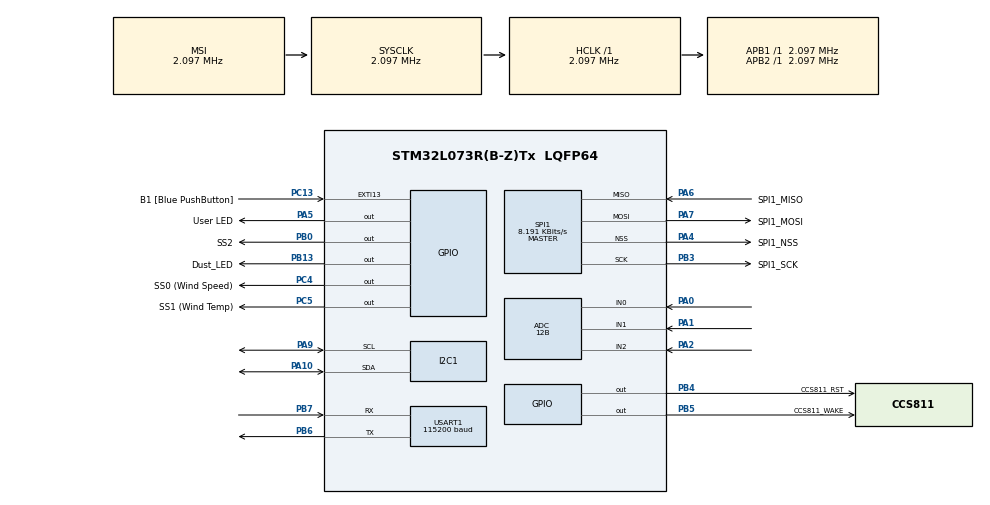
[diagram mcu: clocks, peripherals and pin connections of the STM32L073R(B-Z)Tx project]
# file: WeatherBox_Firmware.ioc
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ADC.ClockPrescaler=ADC_CLOCK_SYNC_PCLK_DIV1
ADC.DataAlign=ADC_DATAALIGN_RIGHT
ADC.DiscontinuousConvMode=ENABLE
ADC.Resolution=ADC_RESOLUTION_12B
ADC.SamplingTime=ADC_SAMPLETIME_1CYCLE_5
ADC.ScanConvMode=ADC_SCAN_DIRECTION_FORWARD
Dma.Request0=USART1_RX
Dma.USART1_RX.0.Direction=DMA_PERIPH_TO_MEMORY
Dma.USART1_RX.0.Instance=DMA1_Channel3
Dma.USART1_RX.0.MemDataAlignment=DMA_MDATAALIGN_BYTE
Dma.USART1_RX.0.MemInc=DMA_MINC_ENABLE
Dma.USART1_RX.0.Mode=DMA_CIRCULAR
Dma.USART1_RX.0.PeriphDataAlignment=DMA_PDATAALIGN_BYTE
Dma.USART1_RX.0.PeriphInc=DMA_PINC_DISABLE
Dma.USART1_RX.0.Priority=DMA_PRIORITY_LOW
I2C1.Analog_Filter=I2C_ANALOGFILTER_DISABLE
I2C1.Timing=0x00000609
Mcu.Family=STM32L0
Mcu.Name=STM32L073R(B-Z)Tx
Mcu.Package=LQFP64
NVIC.DMA1_Channel2_3_IRQn=true\:0\:0\:false\:false\:true\:false\:true
NVIC.TIM2_IRQn=true\:1\:0\:true\:true\:true\:1\:true\:true
PA0.Mode=IN0
PA0.Signal=ADC_IN0
PA1.Mode=IN1
PA1.Signal=ADC_IN1
PA10.Mode=I2C
PA10.Signal=I2C1_SDA
PA13.GPIO_Label=TMS
PA13.Mode=Serial_Wire
PA13.Signal=SYS_SWDIO
PA14.GPIO_Label=TCK
PA14.Mode=Serial_Wire
PA14.Signal=SYS_SWCLK
PA2.Mode=IN2
PA2.Signal=ADC_IN2
PA4.GPIO_Label=SPI1_NSS
PA4.Mode=NSS_Signal_Hard_Output
PA4.Signal=SPI1_NSS
PA5.GPIO_Label=User LED
PA5.Signal=GPIO_Output
PA6.GPIO_Label=SPI1_MISO
PA6.Mode=Full_Duplex_Master
PA6.Signal=SPI1_MISO
PA7.GPIO_Label=SPI1_MOSI
PA7.Mode=Full_Duplex_Master
PA7.Signal=SPI1_MOSI
PA9.Mode=I2C
PA9.Signal=I2C1_SCL
PB0.GPIO_Label=SS2
PB0.Signal=GPIO_Output
PB13.GPIO_Label=Dust_LED
PB13.GPIO_ModeDefaultOutputPP=GPIO_MODE_OUTPUT_PP
PB13.PinState=GPIO_PIN_SET
PB13.Signal=GPIO_Output
PB3.GPIO_Label=SPI1_SCK
PB3.Mode=Full_Duplex_Master
PB3.Signal=SPI1_SCK
PB4.GPIO_Label=CCS811_RST
PB4.Signal=GPIO_Output
PB5.GPIO_Label=CCS811_WAKE
PB5.Signal=GPIO_Output
PB6.Mode=Asynchronous
PB6.Signal=USART1_TX
PB7.Mode=Asynchronous
PB7.Signal=USART1_RX
PC13.GPIO_Label=B1 [Blue PushButton]
PC13.GPIO_ModeDefaultEXTI=GPIO_MODE_IT_FALLING
PC13.Signal=GPXTI13
PC14-OSC32_IN.Mode=LSE-External-Oscillator
PC14-OSC32_IN.Signal=RCC_OSC32_IN
PC15-OSC32_OUT.Mode=LSE-External-Oscillator
PC15-OSC32_OUT.Signal=RCC_OSC32_OUT
PC4.GPIO_Label=SS0 (Wind Speed)
PC4.PinState=GPIO_PIN_SET
PC4.Signal=GPIO_Output
PC5.GPIO_Label=SS1 (Wind Temp)
PC5.Signal=GPIO_Output
PH0-OSC_IN.GPIO_Label=MCO
PH0-OSC_IN.Mode=HSE-External-Clock-Source
PH0-OSC_IN.Signal=RCC_OSC_IN
ProjectManager.HeapSize=0x200
ProjectManager.StackSize=0x400
ProjectManager.TargetToolchain=STM32CubeIDE
RCC.AHBFreq_Value=2097000
RCC.APB1Freq_Value=2097000
RCC.APB1TimFreq_Value=2097000
RCC.APB2Freq_Value=2097000
RCC.APB2TimFreq_Value=2097000
RCC.HSE_VALUE=8000000
RCC.HSI16_VALUE=16000000
RCC.HSI48_VALUE=48000000
RCC.HSI_VALUE=16000000
RCC.MSI_VALUE=2097000
RCC.SYSCLKFreq_VALUE=2097000
RCC.VCOOutputFreq_Value=48000000
RTC.Format=RTC_FORMAT_BCD
RTC.Month=RTC_MONTH_DECEMBER
RTC.WeekDay=RTC_WEEKDAY_SUNDAY
RTC.Year=0
SPI1.BaudRatePrescaler=SPI_BAUDRATEPRESCALER_256
SPI1.CalculateBaudRate=8.191 KBits/s
SPI1.DataSize=SPI_DATASIZE_8BIT
SPI1.Direction=SPI_DIRECTION_2LINES
SPI1.FirstBit=SPI_FIRSTBIT_MSB
SPI1.Mode=SPI_MODE_MASTER
SPI1.VirtualNSS=VM_NSSHARD
SPI1.VirtualType=VM_MASTER
TIM2.Period=3000
TIM2.Prescaler=7000
USART1.BaudRate=115200
USART1.OverSampling=UART_OVERSAMPLING_16
USART1.VirtualMode-Asynchronous=VM_ASYNC
VP_RTC_VS_RTC_Activate.Mode=RTC_Enabled
VP_RTC_VS_RTC_Calendar.Mode=RTC_Calendar
VP_TIM2_VS_ClockSourceINT.Mode=Internal
VP_TIM2_VS_ClockSourceITR.Mode=TriggerSource_ITR0
board=NUCLEO-L073RZ

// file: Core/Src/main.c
/* USER CODE BEGIN Header */
/**
  ******************************************************************************
  * @file           : main.c
  * @brief          : Main program body
  ******************************************************************************
  * @attention
  *
  * <h2><center>&copy; Copyright (c) 2019 STMicroelectronics.
  * All rights reserved.</center></h2>
  *
  * This software component is licensed by ST under BSD 3-Clause license,
  * the "License"; You may not use this file except in compliance with the
  * License. You may obtain a copy of the License at:
  *                        opensource.org/licenses/BSD-3-Clause
  *
  ******************************************************************************
  */
/* USER CODE END Header */

#include "main.h"

ADC_HandleTypeDef hadc;

I2C_HandleTypeDef hi2c1;

RTC_HandleTypeDef hrtc;

SPI_HandleTypeDef hspi1;

TIM_HandleTypeDef htim2;

UART_HandleTypeDef huart1;
DMA_HandleTypeDef hdma_usart1_rx;

/* USER CODE BEGIN PV */
	/* Unique Device ID */
uint32_t stm32_dev_id_word0;
uint32_t stm32_dev_id_word1;
uint32_t stm32_dev_id_word2;

	/* Timeouts in milliseconds */
const int SPI_TIMEOUT = 500;
const int I2C_TIMEOUT = 500;
const int ADC_TIMEOUT = 500;

	/* BME280 Variables */
int bme280_init_complete = 0;
struct bme280_settings bme280_device_settings;
struct bme280_dev bme280_device;
int8_t bme280_init_rslt = BME280_OK;
int8_t bme280_rslt = BME280_OK;
uint8_t bme280_settings_sel = BME280_OSR_PRESS_SEL | BME280_OSR_TEMP_SEL | BME280_OSR_HUM_SEL | BME280_FILTER_SEL;
struct bme280_data comp_data;

	/* CCS811 Variables */
struct ccs811_fw_boot_version ccs811_firmware_boot_version;
struct ccs811_fw_app_version ccs811_firmware_app_version;
struct ccs811_ntc ccs811_ntc_data;
struct ccs811_env_data ccs811_environmental_data;
struct ccs811_measurement_data ccs811_measured_data;
struct ccs811_dev ccs811_device;
uint16_t ccs811_baseline;
int8_t ccs811_init_rslt = CCS811_OK;
int8_t ccs811_rslt = CCS811_OK;
int ccs811_init_complete = 0;

	/* RTC Variables */
RTC_TimeTypeDef currentTime;
RTC_DateTypeDef currentDate;
time_t timestamp_power_on;
time_t timestamp;
struct tm currTime;

/* USER CODE END PV */

void SystemClock_Config(void);
static void MX_GPIO_Init(void);
static void MX_DMA_Init(void);
static void MX_SPI1_Init(void);
static void MX_TIM2_Init(void);
static void MX_I2C1_Init(void);
static void MX_USART1_UART_Init(void);
static void MX_RTC_Init(void);
static void MX_ADC_Init(void);
static void MX_NVIC_Init(void);
/* USER CODE BEGIN PFP */
static void BME280_INIT(void);
static void CCS811_INIT(void);
/* USER CODE END PFP */

int main(void)
{

  /* MCU Configuration--------------------------------------------------------*/

  /* Reset of all peripherals, Initializes the Flash interface and the Systick. */
  HAL_Init();

  /* USER CODE BEGIN Init */
  /* Get Unique Device ID */
  stm32_dev_id_word0 = HAL_GetUIDw0();
  stm32_dev_id_word1 = HAL_GetUIDw1();
  stm32_dev_id_word2 = HAL_GetUIDw2();
  /* USER CODE END Init */

  /* Configure the system clock */
  SystemClock_Config();

  /* Initialize all configured peripherals */
  MX_GPIO_Init();
  MX_DMA_Init();
  MX_SPI1_Init();
  MX_TIM2_Init();
  MX_I2C1_Init();
  MX_USART1_UART_Init();
  MX_RTC_Init();
  MX_ADC_Init();

  /* Initialize interrupts */
  MX_NVIC_Init();
  /* USER CODE BEGIN 2 */
  wifiRST(&huart1);
  wifiInit();
  connectWifi("WeatherBox", "WinDrone807");
  HAL_Delay(1000);
  BME280_INIT();
  bme280_init_complete = 1;
  CCS811_INIT();
  ccs811_init_complete = 1;
  wifi_get_timestamp(huart1);
  get_current_timestamp();
  timestamp_power_on = timestamp;
  //HAL_Delay(5000);
  HAL_TIM_Base_Start_IT(&htim2);

  /* USER CODE END 2 */

  /* Infinite loop */
  while (1)
  {

  }
}

void SystemClock_Config(void)
{
  RCC_OscInitTypeDef RCC_OscInitStruct = {0};
  RCC_ClkInitTypeDef RCC_ClkInitStruct = {0};
  RCC_PeriphCLKInitTypeDef PeriphClkInit = {0};

  /** Configure the main internal regulator output voltage
  */
  __HAL_PWR_VOLTAGESCALING_CONFIG(PWR_REGULATOR_VOLTAGE_SCALE1);
  /** Initializes the CPU, AHB and APB busses clocks
  */
  RCC_OscInitStruct.OscillatorType = RCC_OSCILLATORTYPE_LSI|RCC_OSCILLATORTYPE_MSI;
  RCC_OscInitStruct.LSIState = RCC_LSI_ON;
  RCC_OscInitStruct.MSIState = RCC_MSI_ON;
  RCC_OscInitStruct.MSICalibrationValue = 0;
  RCC_OscInitStruct.MSIClockRange = RCC_MSIRANGE_5;
  RCC_OscInitStruct.PLL.PLLState = RCC_PLL_NONE;
  if (HAL_RCC_OscConfig(&RCC_OscInitStruct) != HAL_OK)
  {
    Error_Handler();
  }
  /** Initializes the CPU, AHB and APB busses clocks
  */
  RCC_ClkInitStruct.ClockType = RCC_CLOCKTYPE_HCLK|RCC_CLOCKTYPE_SYSCLK
                              |RCC_CLOCKTYPE_PCLK1|RCC_CLOCKTYPE_PCLK2;
  RCC_ClkInitStruct.SYSCLKSource = RCC_SYSCLKSOURCE_MSI;
  RCC_ClkInitStruct.AHBCLKDivider = RCC_SYSCLK_DIV1;
  RCC_ClkInitStruct.APB1CLKDivider = RCC_HCLK_DIV1;
  RCC_ClkInitStruct.APB2CLKDivider = RCC_HCLK_DIV1;

  if (HAL_RCC_ClockConfig(&RCC_ClkInitStruct, FLASH_LATENCY_0) != HAL_OK)
  {
    Error_Handler();
  }
  PeriphClkInit.PeriphClockSelection = RCC_PERIPHCLK_USART1|RCC_PERIPHCLK_I2C1
                              |RCC_PERIPHCLK_RTC;
  PeriphClkInit.Usart1ClockSelection = RCC_USART1CLKSOURCE_PCLK2;
  PeriphClkInit.I2c1ClockSelection = RCC_I2C1CLKSOURCE_PCLK1;
  PeriphClkInit.RTCClockSelection = RCC_RTCCLKSOURCE_LSI;
  if (HAL_RCCEx_PeriphCLKConfig(&PeriphClkInit) != HAL_OK)
  {
    Error_Handler();
  }
}

/**
  * @brief NVIC Configuration.
  * @retval None
  */
static void MX_NVIC_Init(void)
{
  /* TIM2_IRQn interrupt configuration */
  HAL_NVIC_SetPriority(TIM2_IRQn, 1, 0);
  HAL_NVIC_EnableIRQ(TIM2_IRQn);
}

static void MX_ADC_Init(void)
{

  ADC_ChannelConfTypeDef sConfig = {0};

  /** Configure the global features of the ADC (Clock, Resolution, Data Alignment and number of conversion)
  */
  hadc.Instance = ADC1;
  hadc.Init.OversamplingMode = DISABLE;
  hadc.Init.ClockPrescaler = ADC_CLOCK_SYNC_PCLK_DIV1;
  hadc.Init.Resolution = ADC_RESOLUTION_12B;
  hadc.Init.SamplingTime = ADC_SAMPLETIME_1CYCLE_5;
  hadc.Init.ScanConvMode = ADC_SCAN_DIRECTION_FORWARD;
  hadc.Init.DataAlign = ADC_DATAALIGN_RIGHT;
  hadc.Init.ContinuousConvMode = DISABLE;
  hadc.Init.DiscontinuousConvMode = ENABLE;
  hadc.Init.ExternalTrigConvEdge = ADC_EXTERNALTRIGCONVEDGE_NONE;
  hadc.Init.ExternalTrigConv = ADC_SOFTWARE_START;
  hadc.Init.DMAContinuousRequests = DISABLE;
  hadc.Init.EOCSelection = ADC_EOC_SINGLE_CONV;
  hadc.Init.Overrun = ADC_OVR_DATA_PRESERVED;
  hadc.Init.LowPowerAutoWait = DISABLE;
  hadc.Init.LowPowerFrequencyMode = DISABLE;
  hadc.Init.LowPowerAutoPowerOff = DISABLE;
  if (HAL_ADC_Init(&hadc) != HAL_OK)
  {
    Error_Handler();
  }
  /** Configure for the selected ADC regular channel to be converted.
  */
  sConfig.Channel = ADC_CHANNEL_0;
  sConfig.Rank = ADC_RANK_CHANNEL_NUMBER;
  if (HAL_ADC_ConfigChannel(&hadc, &sConfig) != HAL_OK)
  {
    Error_Handler();
  }
  /** Configure for the selected ADC regular channel to be converted.
  */
  sConfig.Channel = ADC_CHANNEL_1;
  if (HAL_ADC_ConfigChannel(&hadc, &sConfig) != HAL_OK)
  {
    Error_Handler();
  }
  /** Configure for the selected ADC regular channel to be converted.
  */
  sConfig.Channel = ADC_CHANNEL_2;
  if (HAL_ADC_ConfigChannel(&hadc, &sConfig) != HAL_OK)
  {
    Error_Handler();
  }

}

static void MX_I2C1_Init(void)
{

  hi2c1.Instance = I2C1;
  hi2c1.Init.Timing = 0x00000609;
  hi2c1.Init.OwnAddress1 = 0;
  hi2c1.Init.AddressingMode = I2C_ADDRESSINGMODE_7BIT;
  hi2c1.Init.DualAddressMode = I2C_DUALADDRESS_DISABLE;
  hi2c1.Init.OwnAddress2 = 0;
  hi2c1.Init.OwnAddress2Masks = I2C_OA2_NOMASK;
  hi2c1.Init.GeneralCallMode = I2C_GENERALCALL_DISABLE;
  hi2c1.Init.NoStretchMode = I2C_NOSTRETCH_DISABLE;
  if (HAL_I2C_Init(&hi2c1) != HAL_OK)
  {
    Error_Handler();
  }
  /** Configure Analogue filter
  */
  if (HAL_I2CEx_ConfigAnalogFilter(&hi2c1, I2C_ANALOGFILTER_DISABLE) != HAL_OK)
  {
    Error_Handler();
  }
  /** Configure Digital filter
  */
  if (HAL_I2CEx_ConfigDigitalFilter(&hi2c1, 0) != HAL_OK)
  {
    Error_Handler();
  }

}

static void MX_RTC_Init(void)
{

  RTC_TimeTypeDef sTime = {0};
  RTC_DateTypeDef sDate = {0};

  /** Initialize RTC Only
  */
  hrtc.Instance = RTC;
  hrtc.Init.HourFormat = RTC_HOURFORMAT_24;
  hrtc.Init.AsynchPrediv = 127;
  hrtc.Init.SynchPrediv = 255;
  hrtc.Init.OutPut = RTC_OUTPUT_DISABLE;
  hrtc.Init.OutPutRemap = RTC_OUTPUT_REMAP_NONE;
  hrtc.Init.OutPutPolarity = RTC_OUTPUT_POLARITY_HIGH;
  hrtc.Init.OutPutType = RTC_OUTPUT_TYPE_OPENDRAIN;
  if (HAL_RTC_Init(&hrtc) != HAL_OK)
  {
    Error_Handler();
  }

  /** Initialize RTC and set the Time and Date
  */
  sTime.Hours = 0x0;
  sTime.Minutes = 0x0;
  sTime.Seconds = 0x0;
  sTime.DayLightSaving = RTC_DAYLIGHTSAVING_NONE;
  sTime.StoreOperation = RTC_STOREOPERATION_RESET;
  if (HAL_RTC_SetTime(&hrtc, &sTime, RTC_FORMAT_BCD) != HAL_OK)
  {
    Error_Handler();
  }
  sDate.WeekDay = RTC_WEEKDAY_SUNDAY;
  sDate.Month = RTC_MONTH_DECEMBER;
  sDate.Date = 1;
  sDate.Year = 0;

  if (HAL_RTC_SetDate(&hrtc, &sDate, RTC_FORMAT_BCD) != HAL_OK)
  {
    Error_Handler();
  }

}

static void MX_SPI1_Init(void)
{

  /* SPI1 parameter configuration*/
  hspi1.Instance = SPI1;
  hspi1.Init.Mode = SPI_MODE_MASTER;
  hspi1.Init.Direction = SPI_DIRECTION_2LINES;
  hspi1.Init.DataSize = SPI_DATASIZE_8BIT;
  hspi1.Init.CLKPolarity = SPI_POLARITY_LOW;
  hspi1.Init.CLKPhase = SPI_PHASE_1EDGE;
  hspi1.Init.NSS = SPI_NSS_HARD_OUTPUT;
  hspi1.Init.BaudRatePrescaler = SPI_BAUDRATEPRESCALER_256;
  hspi1.Init.FirstBit = SPI_FIRSTBIT_MSB;
  hspi1.Init.TIMode = SPI_TIMODE_DISABLE;
  hspi1.Init.CRCCalculation = SPI_CRCCALCULATION_DISABLE;
  hspi1.Init.CRCPolynomial = 7;
  if (HAL_SPI_Init(&hspi1) != HAL_OK)
  {
    Error_Handler();
  }

}

static void MX_TIM2_Init(void)
{

  TIM_ClockConfigTypeDef sClockSourceConfig = {0};
  TIM_SlaveConfigTypeDef sSlaveConfig = {0};
  TIM_MasterConfigTypeDef sMasterConfig = {0};

  htim2.Instance = TIM2;
  htim2.Init.Prescaler = 7000;
  htim2.Init.CounterMode = TIM_COUNTERMODE_UP;
  htim2.Init.Period = 3000;
  htim2.Init.ClockDivision = TIM_CLOCKDIVISION_DIV1;
  htim2.Init.AutoReloadPreload = TIM_AUTORELOAD_PRELOAD_DISABLE;
  if (HAL_TIM_Base_Init(&htim2) != HAL_OK)
  {
    Error_Handler();
  }
  sClockSourceConfig.ClockSource = TIM_CLOCKSOURCE_INTERNAL;
  if (HAL_TIM_ConfigClockSource(&htim2, &sClockSourceConfig) != HAL_OK)
  {
    Error_Handler();
  }
  sSlaveConfig.SlaveMode = TIM_SLAVEMODE_DISABLE;
  sSlaveConfig.InputTrigger = TIM_TS_ITR0;
  if (HAL_TIM_SlaveConfigSynchro(&htim2, &sSlaveConfig) != HAL_OK)
  {
    Error_Handler();
  }
  sMasterConfig.MasterOutputTrigger = TIM_TRGO_RESET;
  sMasterConfig.MasterSlaveMode = TIM_MASTERSLAVEMODE_DISABLE;
  if (HAL_TIMEx_MasterConfigSynchronization(&htim2, &sMasterConfig) != HAL_OK)
  {
    Error_Handler();
  }

}

static void MX_USART1_UART_Init(void)
{

  huart1.Instance = USART1;
  huart1.Init.BaudRate = 115200;
  huart1.Init.WordLength = UART_WORDLENGTH_8B;
  huart1.Init.StopBits = UART_STOPBITS_1;
  huart1.Init.Parity = UART_PARITY_NONE;
  huart1.Init.Mode = UART_MODE_TX_RX;
  huart1.Init.HwFlowCtl = UART_HWCONTROL_NONE;
  huart1.Init.OverSampling = UART_OVERSAMPLING_16;
  huart1.Init.OneBitSampling = UART_ONE_BIT_SAMPLE_DISABLE;
  huart1.AdvancedInit.AdvFeatureInit = UART_ADVFEATURE_NO_INIT;
  if (HAL_UART_Init(&huart1) != HAL_OK)
  {
    Error_Handler();
  }

}

static void MX_DMA_Init(void)
{

  /* DMA controller clock enable */
  __HAL_RCC_DMA1_CLK_ENABLE();

  /* DMA interrupt init */
  /* DMA1_Channel2_3_IRQn interrupt configuration */
  HAL_NVIC_SetPriority(DMA1_Channel2_3_IRQn, 0, 0);
  HAL_NVIC_EnableIRQ(DMA1_Channel2_3_IRQn);

}

static void MX_GPIO_Init(void)
{
  GPIO_InitTypeDef GPIO_InitStruct = {0};

  /* GPIO Ports Clock Enable */
  __HAL_RCC_GPIOC_CLK_ENABLE();
  __HAL_RCC_GPIOH_CLK_ENABLE();
  __HAL_RCC_GPIOA_CLK_ENABLE();
  __HAL_RCC_GPIOB_CLK_ENABLE();

  /*Configure GPIO pin Output Level */
  HAL_GPIO_WritePin(User_LED_GPIO_Port, User_LED_Pin, GPIO_PIN_RESET);

  /*Configure GPIO pin Output Level */
  HAL_GPIO_WritePin(SS0_GPIO_Port, SS0_Pin, GPIO_PIN_SET);

  /*Configure GPIO pin Output Level */
  HAL_GPIO_WritePin(SS1_GPIO_Port, SS1_Pin, GPIO_PIN_RESET);

  /*Configure GPIO pin Output Level */
  HAL_GPIO_WritePin(GPIOB, SS2_Pin|CCS811_RST_Pin|CCS811_WAKE_Pin, GPIO_PIN_RESET);

  /*Configure GPIO pin Output Level */
  HAL_GPIO_WritePin(Dust_LED_GPIO_Port, Dust_LED_Pin, GPIO_PIN_SET);

  /*Configure GPIO pin : B1_Pin */
  GPIO_InitStruct.Pin = B1_Pin;
  GPIO_InitStruct.Mode = GPIO_MODE_IT_FALLING;
  GPIO_InitStruct.Pull = GPIO_NOPULL;
  HAL_GPIO_Init(B1_GPIO_Port, &GPIO_InitStruct);

  /*Configure GPIO pin : User_LED_Pin */
  GPIO_InitStruct.Pin = User_LED_Pin;
  GPIO_InitStruct.Mode = GPIO_MODE_OUTPUT_PP;
  GPIO_InitStruct.Pull = GPIO_NOPULL;
  GPIO_InitStruct.Speed = GPIO_SPEED_FREQ_LOW;
  HAL_GPIO_Init(User_LED_GPIO_Port, &GPIO_InitStruct);

  /*Configure GPIO pins : SS0_Pin SS1_Pin */
  GPIO_InitStruct.Pin = SS0_Pin|SS1_Pin;
  GPIO_InitStruct.Mode = GPIO_MODE_OUTPUT_PP;
  GPIO_InitStruct.Pull = GPIO_NOPULL;
  GPIO_InitStruct.Speed = GPIO_SPEED_FREQ_LOW;
  HAL_GPIO_Init(GPIOC, &GPIO_InitStruct);

  /*Configure GPIO pins : SS2_Pin Dust_LED_Pin CCS811_RST_Pin CCS811_WAKE_Pin */
  GPIO_InitStruct.Pin = SS2_Pin|Dust_LED_Pin|CCS811_RST_Pin|CCS811_WAKE_Pin;
  GPIO_InitStruct.Mode = GPIO_MODE_OUTPUT_PP;
  GPIO_InitStruct.Pull = GPIO_NOPULL;
  GPIO_InitStruct.Speed = GPIO_SPEED_FREQ_LOW;
  HAL_GPIO_Init(GPIOB, &GPIO_InitStruct);

}

/* USER CODE BEGIN 4 */
/**
 * Initializes Bosch BME280 Temperature, Pressure, and Humidity Sensor
 */
static void BME280_INIT(void)
{
	/* Device Sampling, Filter, and Standby Time Settings */
	/* Recommended mode of operation: Indoor navigation */
	bme280_device_settings.osr_p = BME280_OVERSAMPLING_16X;		// Pressure
	bme280_device_settings.osr_t = BME280_OVERSAMPLING_2X;		// Temperature
	bme280_device_settings.osr_h = BME280_OVERSAMPLING_1X;		// Humidity
	bme280_device_settings.filter = BME280_FILTER_COEFF_16;		// Filter
	bme280_device_settings.standby_time = 0;					// Standby Time
	bme280_device.dev_id = BME280_I2C_ADDR_SEC;					// I2C Address
	bme280_device.intf = BME280_I2C_INTF;						// I2C Mode
	bme280_device.read = user_i2c_read;							// Read Function Ptr
	bme280_device.write = user_i2c_write;						// Write Function Ptr
	bme280_device.delay_ms = user_delay_ms;						// Delay Function Ptr
	bme280_device.settings = bme280_device_settings;			// Device Settings set above
	bme280_init_rslt |= bme280_init(&bme280_device);					// Initizialize Device
	bme280_init_rslt |= bme280_set_sensor_settings(bme280_settings_sel, &bme280_device); // Apply Settings
	bme280_init_rslt |= bme280_set_sensor_mode(BME280_SLEEP_MODE, &bme280_device); // Set to sleep mode
}

/**
 *Initializes AMS CCS811 Air Quality Sensor
 */
static void CCS811_INIT(void)
{
	ccs811_device.dev_addr = CCS811_I2C_ADDR_SEC;
	ccs811_device.measure_mode_reg = (uint8_t)(CCS811_DRIVE_MODE_CONSTANT_1s_MODE);
	ccs811_device.read = ccs811_read;
	ccs811_device.write = ccs811_write;
	ccs811_device.delay_ms = user_delay_ms;
	HAL_GPIO_WritePin(CCS811_RST_GPIO_Port, CCS811_RST_Pin, GPIO_PIN_RESET);
	HAL_Delay(10);
	HAL_GPIO_WritePin(CCS811_RST_GPIO_Port, CCS811_RST_Pin, GPIO_PIN_SET);
	HAL_Delay(10);
	HAL_GPIO_WritePin(CCS811_WAKE_GPIO_Port, CCS811_WAKE_Pin, GPIO_PIN_RESET);
	HAL_Delay(10);
	HAL_GPIO_WritePin(CCS811_WAKE_GPIO_Port, CCS811_WAKE_Pin, GPIO_PIN_SET);
	HAL_Delay(10);
	ccs811_device.hw_id = 0;
	ccs811_device.hw_version = 0;
	ccs811_device.status_reg = 0;
	ccs811_device.error_reg = 0;
	ccs811_init_rslt |= ccs811_init(&ccs811_device);
	ccs811_init_rslt |= ccs811_read_fw_boot_version(&ccs811_firmware_boot_version, &ccs811_device);
	ccs811_init_rslt |= ccs811_read_status_reg(&ccs811_device);
	ccs811_init_rslt |= ccs811_read_fw_app_version(&ccs811_firmware_app_version, &ccs811_device);
	ccs811_init_rslt |= ccs811_read_status_reg(&ccs811_device);
	/* NTC Register requires external temperature sensor to be hooked up using resistors.
	 * See Programming Datasheet
	 *	ccs811_init_rslt |= ccs811_read_ntc(&ccs811_ntc_data, &ccs811_device);
	 *	ccs811_init_rslt |= ccs811_read_status_reg(&ccs811_device);
	*/
	ccs811_init_rslt |= ccs811_read_baseline_reg(&ccs811_baseline, &ccs811_device);
	ccs811_init_rslt |= ccs811_read_status_reg(&ccs811_device);
}

/**
 *	CCS811 Read Wrapper Function
 *	Wraps user_i2c_read
 */
int8_t ccs811_read(uint8_t dev_id, uint8_t reg_addr, uint8_t *reg_data, uint16_t len)
{
	/* Remove device from sleep mode */
	HAL_GPIO_WritePin(CCS811_WAKE_GPIO_Port, CCS811_WAKE_Pin, GPIO_PIN_RESET);
	HAL_Delay(100);

	int8_t rslt = user_i2c_read(dev_id, reg_addr, reg_data, len);

	/* Put device into sleep mode */
	HAL_GPIO_WritePin(CCS811_WAKE_GPIO_Port, CCS811_WAKE_Pin, GPIO_PIN_SET);

	return rslt;
}

/**
 *	CCS811 Write Wrapper Function
 *	Wraps user_i2c_write
 */
int8_t ccs811_write(uint8_t dev_id, uint8_t reg_addr, uint8_t *reg_data, uint16_t len)
{
	/* Remove device from sleep mode */
	HAL_GPIO_WritePin(CCS811_WAKE_GPIO_Port, CCS811_WAKE_Pin, GPIO_PIN_RESET);
	HAL_Delay(100);

	int8_t rslt = user_i2c_write(dev_id, reg_addr, reg_data, len);

	/* Put device into sleep mode */
	HAL_GPIO_WritePin(CCS811_WAKE_GPIO_Port, CCS811_WAKE_Pin, GPIO_PIN_SET);

	return rslt;
}

/*
 *	@brief Function Pointer for Delaying the BME280.
 *	After a number of milliseconds have passed, we
 *	return control.
 * 	@param[in] milliseconds : How much to delay by in milliseconds.
 */
void user_delay_ms(uint32_t milliseconds)
{
	HAL_Delay(milliseconds);
}

/*
 *	@brief Function Pointer for reading data from the BME280 or CCS811 using the I2C protocol.
 * 	@param[in] dev_id : I2C address of the device.
 * 	@param[in] reg_addr : Register address of what we want to read in from the sensor.
 * 	@param[out] reg_data : Data we're reading out from the register.
 * 	@param[in] len : Amount of registers to read from
 *
 *************************************************************
 *
 */
int8_t user_i2c_read(uint8_t dev_id, uint8_t reg_addr, uint8_t *reg_data, uint16_t len)
{
	/*
	 * Data on the bus should be like
	 * |------------+---------------------|
	 * | I2C action | Data                |
	 * |------------+---------------------|
	 * | Start      | -                   |
	 * | Write      | (reg_addr)          |
	 * | Stop       | -                   |
	 * | Start      | -                   |
	 * | Read       | (reg_data[0])       |
	 * | Read       | (....)              |
	 * | Read       | (reg_data[len - 1]) |
	 * | Stop       | -                   |
	 * |------------+---------------------|
	 */
	int8_t rslt = 0; /* Return 0 for Success, non-zero for failure */
	uint16_t read_mode = dev_id;
	/* Check if our dev_id is already left shifted with a read bit */
	read_mode = (dev_id << 1) | 1;
	// Initing then Deiniting fixed I2C Busy Flag bug
	HAL_I2C_Init(&hi2c1);
	rslt |= HAL_I2C_Mem_Read(&hi2c1, read_mode, reg_addr, sizeof(uint8_t), reg_data, len, I2C_TIMEOUT);
	HAL_Delay(500);
	HAL_I2C_DeInit(&hi2c1);
	return rslt;
}

/*
 *	@brief Function Pointer for writing data to the BME280 using the I2C protocol.
 * 	@param[in] dev_id : I2C address of the device.
 * 	@param[in] reg_addr : Register address of what we want to read in from the BME280.
 * 	@param[in] reg_data : Data we're writing to the register
 * 	@param[in] len : Amount of registers to write to
 */
int8_t user_i2c_write(uint8_t dev_id, uint8_t reg_addr, uint8_t *reg_data, uint16_t len)
{
	/*
	 * Data on the bus should be like
	 * |------------+---------------------|
	 * | I2C action | Data                |
	 * |------------+---------------------|
	 * | Start      | -                   |
	 * | Write      | (reg_addr)          |
	 * | Write      | (reg_data[0])       |
	 * | Write      | (....)              |
	 * | Write      | (reg_data[len - 1]) |
	 * | Stop       | -                   |
	 * |------------+---------------------|
	 */
	int8_t rslt = 0; /* Return 0 for Success, non-zero for failure */
	uint16_t write_mode = dev_id;
	/* Check if our dev_id is already left shifted with a write bit */
	write_mode = (dev_id << 1) | 0;
	// Initing then Deiniting fixed I2C Busy Flag bug
	HAL_I2C_Init(&hi2c1);
	rslt = HAL_I2C_Mem_Write(&hi2c1, write_mode, reg_addr, sizeof(uint8_t), reg_data, len, I2C_TIMEOUT);
	HAL_Delay(500);
	HAL_I2C_DeInit(&hi2c1);
	return rslt;
}

/*
 * 	@brief Function to set time_t timestamp above to the current timestamp
 * 	IMPORTANT: ONLY USE AFTER WE GET TIMESTAMP FROM SERVER!
 *
 *
 *  https://stackoverflow.com/questions/48440051/how-to-generate-a-timestamp-in-stm32f303
 *  You must call HAL_RTC_GetDate() after HAL_RTC_GetTime() to unlock the values
 *  in the higher-order calendar shadow registers to ensure consistency between the time and date values.
 *  Reading RTC current time locks the values in calendar shadow registers until Current date is read
 *  to ensure consistency between the time and date values.
 */
void get_current_timestamp()
{
	HAL_RTC_GetTime(&hrtc, &currentTime, RTC_FORMAT_BIN);
	HAL_RTC_GetDate(&hrtc, &currentDate, RTC_FORMAT_BIN);

	currTime.tm_year = currentDate.Year + 2019;  // In fact: 2000 + 18 - 1900
	currTime.tm_mday = currentDate.Date;
	currTime.tm_mon  = currentDate.Month;

	currTime.tm_hour = currentTime.Hours;
	currTime.tm_min  = currentTime.Minutes;
	currTime.tm_sec  = currentTime.Seconds;

	timestamp = mktime(&currTime);
}
/* USER CODE END 4 */

void Error_Handler(void)
{
}

/************************ (C) COPYRIGHT STMicroelectronics *****END OF FILE****/
